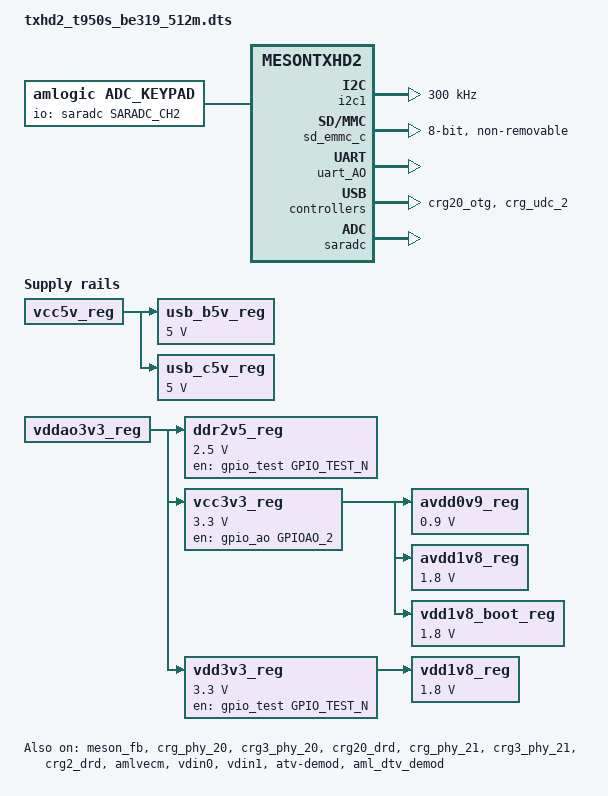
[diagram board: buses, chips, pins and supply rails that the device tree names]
// SPDX-License-Identifier: (GPL-2.0+ OR MIT)
/*
 * Copyright (c) 2019 Amlogic, Inc. All rights reserved.
 */

/dts-v1/;

#include "mesontxhd2.dtsi"
#include "hdr10plus.dtsi"
#include "mesontxhd2_panel.dtsi"
#include "partition_mbox_normal_txhd2_P_32.dtsi"

/ {
	amlogic-dt-id = "txhd2_t950s_be319-512m";
	compatible = "txhd2_t950s_be319-512m";
	interrupt-parent = <&gic>;
	#address-cells = <1>;
	#size-cells = <1>;

	aliases {
		serial0 = &uart_AO;
		serial1 = &uart_A;
		serial2 = &uart_B;
		serial3 = &uart_C;
		serial4 = &uart_AO_B;
		i2c0 = &i2c0;
		i2c1 = &i2c1;
		i2c2 = &i2c2;
		i2c3 = &i2c3;
		i2c4 = &i2c_AO;
		spi0 = &spicc0;
	};

	memory@00000000 {
		device_type = "memory";
		linux,usable-memory = <0x00000000 0x20000000>;
	};

	reserved-memory {
		#address-cells = <1>;
		#size-cells = <1>;
		ranges;

		ramdump_bl33z@00000000 {
			reg = <0x0 0x1800000>; /* 0 ~ 24M */
			status = "disabled";
		};

		/* global autoconfigured region for contiguous allocations */
		ramoops@0x06700000 {
			compatible = "ramoops";
			reg = <0x06700000 0x00100000>;
			record-size = <0x20000>;
			console-size = <0x40000>;
			ftrace-size = <0x80000>;
			pmsg-size = <0x20000>;
		};

		dmc_reserved:linux,dmc_monitor {
			compatible = "amlogic,dmc_monitor-reserved";
			reg = <0x0 0x0>;
		};

		debug_reserved:linux,iotrace {
			compatible = "amlogic, iotrace";
			reg = <0x04f00000 0x00100000>;
			io-size = <0x1b000>;
			sched-size = <0x2000>;
			irq-size = <0x1000>;
			smc-size = <0x1000>;
			misc-size = <0x1000>;
		};

		defendkey_reserved:linux,defendkey {
			compatible = "amlogic, defendkey";
			reg = <0x04e00000 0x100000>;
		};

		secmon_reserved:linux,secmon {
			compatible = "shared-dma-pool";
			no-map;
			alignment = <0x100000>;
			reg = <0x05000000 0x01700000>;
		};

		/*  POST PROCESS MANAGER */
		ppmgr_reserved:linux,ppmgr {
			compatible = "shared-dma-pool";
			size = <0x0>;
		};

		picdec_cma_reserved:linux,picdec {
			compatible = "shared-dma-pool";
			status = "disabled";
			reusable;
			size = <0x0>;
			alignment = <0x0>;
			linux,contiguous-region;
		};

		ion_cma_reserved:linux,ion-dev {
			compatible = "shared-dma-pool";
			reusable;
			size = <0xc00000>;
			alignment = <0x400000>;
		};

		ion_fb_reserved:linux,ion-fb {
			compatible = "shared-dma-pool";
			reusable;
			size = <0x00000000>;
			alignment = <0x400000>;
		};

		logo_reserved:linux,meson-fb {
			compatible = "amlogic, meson-fb";
			alignment = <0x400000>;
			reg = <0x1f800000 0x400000>;
		};

		lcd_cma_reserved:linux,lcd-reserved {
			compatible = "amlogic, lcd_rsvd";
			reg = <0x1f000000 0x00410000>;
			tcon-size = <0x00402840>;
		};

		/*  vdin0 CMA pool */
		/*vdin0_cma_reserved:linux,vdin0_cma {*/
		/*	compatible = "shared-dma-pool";*/
		/*	reusable;*/
		/* up to 1920x1080 yuv422 8bit and 5 buffers
		 * 1920x1080x2x5 = 20 M
		 */
		/*	size = <0x0 0x01400000>;*/
		/*	alignment = <0x400000>;*/
		/*};*/
		/*  vdin1 CMA pool */
		vdin1_cma_reserved:linux,vdin1_cma {
			compatible = "shared-dma-pool";
			reusable;
			/* up to 1280x720 yuv422 8bit and 4 buffers
			 * 1280x720x2x4 = 8 M
			 * size = <0x800000>;
			 */
			size = <0x800000>;
			alignment = <0x400000>;
			alloc-ranges = <0x0 0x3f000000>;
		};

		codec_mm_cma:linux,codec_mm_cma {
			compatible = "shared-dma-pool";
			reusable;
			/* ion_codec_mm max can alloc size 80M */
			size = <0x7c00000>;
			alignment = <0x400000>;
			linux,contiguous-region;
		};

		/* codec shared reserved */
		codec_mm_reserved:linux,codec_mm_reserved {
			compatible = "amlogic, codec-mm-reserved";
			size = <0x0>;
			alignment = <0x100000>;
			//no-map;
		};

		secure_vdec_reserved:linux,secure_vdec_reserved {
			compatible = "amlogic, secure-vdec-reserved";
			no-map;
			size = <0x400000>;
			alignment = <0x100000>;
		};

		/* global autoconfigured region for contiguous allocations */
		linux,cma {
			compatible = "shared-dma-pool";
			reusable;
			size = <0x400000>;
			alignment = <0x400000>;
			linux,cma-default;
		};
	};

	usb_b5v_reg: fixed@usb_b5v_reg{
		vin-supply = <&vcc5v_reg>;
		compatible = "regulator-fixed";
		regulator-name = "USB_B_5V";
		regulator-min-microvolt = <5000000>;
		regulator-max-microvolt = <5000000>;
		regulator-boot-on;
		regulator-always-on;
	};

	usb_c5v_reg: fixed@usb_c5v_reg{
		vin-supply = <&vcc5v_reg>;
		compatible = "regulator-fixed";
		regulator-name = "USB_C_5V";
		regulator-min-microvolt = <5000000>;
		regulator-max-microvolt = <5000000>;
		regulator-boot-on;
		regulator-always-on;
	};

	ddr2v5_reg: fixed@ddr2v5_reg{
		vin-supply = <&vddao3v3_reg>;
		compatible = "regulator-fixed";
		regulator-name = "DDR4_2V5";
		regulator-min-microvolt = <2500000>;
		regulator-max-microvolt = <2500000>;
		gpio = <&gpio_test GPIO_TEST_N GPIO_ACTIVE_HIGH>;
		enable-active-high;
		regulator-boot-on;
		regulator-always-on;
	};

	vcc3v3_reg: fixed@vcc3v3_reg{
		vin-supply = <&vddao3v3_reg>;
		compatible = "regulator-fixed";
		regulator-name = "VCC_3V3";
		regulator-min-microvolt = <3300000>;
		regulator-max-microvolt = <3300000>;
		gpio = <&gpio_ao GPIOAO_2 GPIO_ACTIVE_HIGH>;
		enable-active-high;
		regulator-boot-on;
		regulator-always-on;
	};

	vdd3v3_reg: fixed@vdd3v3_reg{
		vin-supply = <&vddao3v3_reg>;
		compatible = "regulator-fixed";
		regulator-name = "VDD_3V3";
		regulator-min-microvolt = <3300000>;
		regulator-max-microvolt = <3300000>;
		gpio = <&gpio_test GPIO_TEST_N GPIO_ACTIVE_HIGH>;
		enable-active-high;
		regulator-boot-on;
		regulator-always-on;
	};

	avdd0v9_reg: fixed@avdd0v9_reg{
		vin-supply = <&vcc3v3_reg>;
		compatible = "regulator-fixed";
		regulator-name = "AVDD0V9";
		regulator-min-microvolt = <900000>;
		regulator-max-microvolt = <900000>;
		regulator-boot-on;
		regulator-always-on;
	};

	avdd1v8_reg: fixed@avdd1v8_reg{
		vin-supply = <&vcc3v3_reg>;
		compatible = "regulator-fixed";
		regulator-name = "AVDD1V8";
		regulator-min-microvolt = <1800000>;
		regulator-max-microvolt = <1800000>;
		regulator-boot-on;
		//regulator-always-on;
	};

	vdd1v8_boot_reg: fixed@vdd1v8_boot_reg{
		vin-supply = <&vcc3v3_reg>;
		compatible = "regulator-fixed";
		regulator-name = "VDD18_BOOT";
		regulator-min-microvolt = <1800000>;
		regulator-max-microvolt = <1800000>;
		regulator-boot-on;
		//regulator-always-on;
	};

	vdd1v8_reg: fixed@vdd1v8_reg{
		vin-supply = <&vdd3v3_reg>;
		compatible = "regulator-fixed";
		regulator-name = "VDD_1V8";
		regulator-min-microvolt = <1800000>;
		regulator-max-microvolt = <1800000>;
		regulator-boot-on;
		//regulator-always-on;
	};

	/* for external keypad */
	adc_keypad {
		compatible = "amlogic, adc_keypad";
		status = "okay";
		key_name = "power", "vol-", "vol+", "ok";
		key_num = <4>;
		io-channels = <&saradc SARADC_CH2>;
		io-channel-names = "key-chan-2";
		key_chan = <SARADC_CH2 SARADC_CH2 SARADC_CH2 SARADC_CH2>;
		key_code = <KEY_POWER KEY_VOLUMEDOWN KEY_VOLUMEUP KEY_ENTER>;
		/* key_val = voltage / 1800mV * 1023 */
		key_val = <0 143 266 389>;
		key_tolerance = <40 40 40 40>;
	};

	atv-demod {
		compatible = "amlogic, atv-demod";
		status = "okay";
		btsc_sap_mode = <1>;
		interrupts = <0 236 1>;
		//pinctrl-names="atvdemod_agc_pins";
		//pinctrl-0=<&atvdemod_agc_pins>;
		reg = <0xff656000 0x2000    // demod reg
				0xff646000 0x2000   // clktree reg
				0x0 0x0             // periphs reg
				0xff64a000 0x2000>; // adec reg
		//common_agc = <1>;
	};

	aml_dtv_demod {
		compatible = "amlogic, ddemod-txhd2";
		dev_name = "aml_dtv_demod";
		status = "okay";
		//pinctrl-names="if_agc_pins";
		//pinctrl-0=<&dtvdemod_if_agc_pins>;
		power-domains = <&pwrdm PDID_DEMOD>;
		reg = <0xff670000 0x10000 //dtv demod base
				0xff646000 0x2000 //clktree reg base
				0xff800000 0x1000 //io_aobus_base
				0xffd01000 0x2000>; //system reset

		cma_mem_size = <8>; // MB
	};

	dvb-extern {
		compatible = "amlogic, dvb-extern";
		dev_name = "dvb-extern";
		status = "okay";

		fe_num = <1>;
		fe0_demod = "internal";

		tuner_num = <1>; // tuner number, multi tuner support
		tuner0_name = "mxl661_tuner";
		tuner0_i2c_adap = <&i2c1>;
		tuner0_i2c_addr = <0x60>; // 8 bits
		tuner0_xtal = <0>;       // 0: 16MHz, 1: 24MHz
		tuner0_xtal_mode = <0>;
		tuner0_xtal_cap = <25>;
	};

	dvb-demux {
		compatible = "amlogic, dvb-demux";
		dev_name = "dvb-demux";
		status = "okay";

		dmx = <&demux>;
		key_endia = <1>;
		add_s2p2 = <1>;
		add_ts_in = <1>;
		add_asyncfifo = <1>;

		/*"parallel","serial","disable"*/
		ts2 = "parallel";
		ts2_control = <0>;
		ts2_invert = <0>;
		tsin_deglitch = <1>;

		clocks = <&clkc CLKID_CLK81_DMUX
		&clkc CLKID_CLK81_AHB_ARB0
		&clkc CLKID_CLK81_PARSER>;
		clock-names = "demux", "ahbarb0", "parser_top";
		//pinctrl-names = "p_ts2";
		//pinctrl-0 = <&dvb_p_ts2_pins>;
	};
}; /* end of / */

&hdmirx {
	en_4k_2_2k = <0>;
	hpd_low_cec_off = <1>;
	arc_port = <1>;
	/* bit4: enable feature, bit3~0: port number */
	disable_port = <0x0>;
	pinctrl-0 = <&hdmirx_a_mux &hdmirx_b_mux>;
};

&picdec {
	status = "disabled";
};

&pinctrl_periphs {
	/*backlight*/
	bl_pwm_vs_on_pins:bl_pwm_vs_on_pin {
		mux {
			groups = "pwm_vs_z1";
			function = "pwm_vs";
		};
	};
	bl_pwm_off_pins:bl_pwm_off_pin {
		mux {
			groups = "GPIOZ_1";
			function = "gpio_periphs";
			output-low;
		};
	};
};

&i2c1 {
	status = "okay";
	clock-frequency = <300000>;
	pinctrl-names="default";
	pinctrl-0=<&i2c1_pins1>;
};

&CPU0 {
	operating-points-v2 = <&single_cpu_opp_table0>,
		<&single_cpu_opp_table1>,
		<&single_cpu_opp_table2>,
		<&single_cpu_opp_table3>;
};

&CPU1 {
	operating-points-v2 = <&single_cpu_opp_table0>,
		<&single_cpu_opp_table1>,
		<&single_cpu_opp_table2>,
		<&single_cpu_opp_table3>;
};

&CPU2 {
	operating-points-v2 = <&single_cpu_opp_table0>,
		<&single_cpu_opp_table1>,
		<&single_cpu_opp_table2>,
		<&single_cpu_opp_table3>;
};

&CPU3 {
	operating-points-v2 = <&single_cpu_opp_table0>,
		<&single_cpu_opp_table1>,
		<&single_cpu_opp_table2>,
		<&single_cpu_opp_table3>;
};

&sd_emmc_c {
	status = "okay";
	pinctrl-0 = <&emmc_pins>, <&emmc_ds_pins>;
	pinctrl-1 = <&emmc_clk_gate_pins>;
	pinctrl-names = "default", "clk-gate";

	bus-width = <8>;
	cap-sd-highspeed;
	cap-mmc-highspeed;
	mmc-ddr-1_8v;
	mmc-hs200-1_8v;
	mmc-hs400-1_8v;
	max-frequency = <200000000>;
	non-removable;
	disable-wp;

//  mmc-pwrseq = <&emmc_pwrseq>;
//  vmmc-supply = <&vddao_3v3>;
//  vqmmc-supply = <&vddao_1v8>;
};

&meson_fb {
	status = "okay";
	display_size_default = <1280 720 1280 2160 32>;
	mem_size = <0x00400000 0xb00000 0x100000>;
	logo_addr = "0x3f800000";
	mem_alloc = <0>;
	pxp_mode = <0>; /** 0:normal mode 1:pxp mode */
};

&uart_AO {
	status = "okay";
};

&crg_phy_20 {
	status = "okay";
	portnum = <1>;
};

&crg3_phy_20 {
	status = "okay";
	portnum = <0>;
};

&crg20_otg {
	status = "okay";
	controller-type = <1>;
};

&crg20_drd {
	compatible = "amlogic, crg-drd";
	status = "okay";
};

&crg_udc_2 {
	status = "okay";
};

&crg_phy_21 {
	status = "okay";
	portnum = <2>;
	gpio-vbus-power = "GPIODV_7";
	gpios = <&gpio GPIODV_7 GPIO_ACTIVE_HIGH>;
};

&crg3_phy_21 {
	status = "okay";
	portnum = <0>;
};

&crg2_drd {
	compatible = "amlogic, crg-host-drd";
	status = "okay";
};

&saradc {
	status = "okay";
};

&spicc0 {
	status = "disabled";
	pinctrl-names = "default";
	pinctrl-0 = <&spicc0_pins_c>;
	cs-gpios = <&gpio GPIOC_7 GPIO_ACTIVE_HIGH>;
	assigned-clocks = <&clkc CLKID_SPICC0>;
	assigned-clock-parents = <&clkc CLKID_FCLK_DIV2>;
	assigned-clock-rates = <200000000>;
	parent_clk_fixed;
};

&amlvecm {
	status = "okay";
	gamma_en = <1>;/*1:enable ;0:disable*/
	wb_en = <1>;/*1:enable ;0:disable*/
	cm_en = <1>;/*1:enable ;0:disable*/
	wb_sel = <0>;/*1:mtx ;0:gainoff*/
	vlock_en = <1>;/*1:enable;0:disable*/
	vlock_mode = <0x8>;
	vrr_priority = <1>;/*1:game mode vrr always on;0:vrr on depend on vrr signal*/
	/*vlock work mode:
	 *bit0:auto ENC
	 *bit1:auto PLL
	 *bit2:manual PLL
	 *bit3:manual ENC
	 *bit4:manual soft ENC
	 *bit5:manual MIX PLL ENC
	 */
	vlock_pll_m_limit = <1>;
	vlock_line_limit = <2>;
	interrupts = <0 87 1>;
	interrupt-names = "lc_curve";
};

/*if you want to use vdin just modify status to "ok"*/
&vdin0 {
	/*memory-region = <&vdin0_cma_reserved>;*/
	status = "okay";
	/*MByte, if 10bit disable: 64M(YUV422),
	 *if 10bit enable: 64*1.5 = 96M(YUV422)
	 *if support 4K2K-YUV444-10bit-WR:3840*2160*4*4 ~= 128M
	 *if support 4K2K-YUV422-10bit-wr:3840*2160*3*4 ~= 96M
	 *if support 4K2K-YUV422-8BIT-WR:3840*2160*2*4 ~= 64M
	 *if support 1080p-YUV422-8BIT-WR:1920*1080*2*4 ~= 16M
	 * onebuffer:
	 * worst case:(4096*2160*3 + 2M(afbce issue)) = 27.5M
	 * dw:960x540x3 = 1.5M
	 * total size:(27.5+1.5)x buffernumber
	 */
	cma_size = <80>;
	frame_buff_num = <10>;
};

&vdin1 {
	memory-region = <&vdin1_cma_reserved>;
	status = "okay";
};
